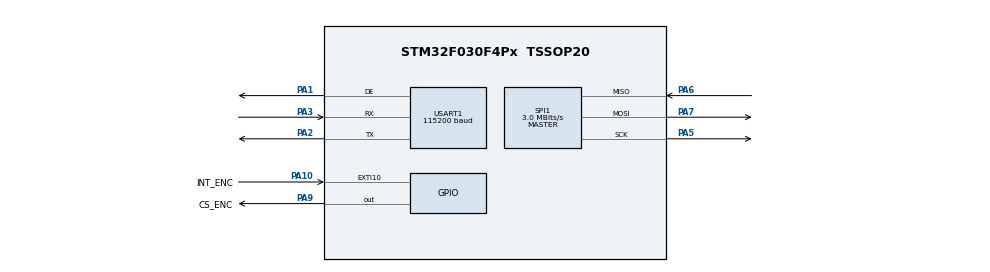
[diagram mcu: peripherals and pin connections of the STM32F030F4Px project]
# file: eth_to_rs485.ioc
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Mcu.Family=STM32F0
Mcu.Name=STM32F030F4Px
Mcu.Package=TSSOP20
PA1.Mode=Hardware Flow Control (RS485)
PA1.Signal=USART1_DE
PA10.GPIO_Label=INT_ENC
PA10.Signal=GPXTI10
PA2.Mode=Asynchronous
PA2.Signal=USART1_TX
PA3.Mode=Asynchronous
PA3.Signal=USART1_RX
PA5.Mode=Full_Duplex_Master
PA5.Signal=SPI1_SCK
PA6.Mode=Full_Duplex_Master
PA6.Signal=SPI1_MISO
PA7.Mode=Full_Duplex_Master
PA7.Signal=SPI1_MOSI
PA9.GPIO_Label=CS_ENC
PA9.Signal=GPIO_Output
ProjectManager.HeapSize=0x200
ProjectManager.StackSize=0x400
ProjectManager.TargetToolchain=SW4STM32
RCC.AHBFreq_Value=48000000
RCC.APB1Freq_Value=48000000
RCC.APB1TimFreq_Value=48000000
RCC.HCLKFreq_Value=48000000
RCC.PLLMUL=RCC_PLL_MUL12
RCC.SYSCLKFreq_VALUE=48000000
RCC.SYSCLKSource=RCC_SYSCLKSOURCE_PLLCLK
SPI1.BaudRatePrescaler=SPI_BAUDRATEPRESCALER_16
SPI1.CalculateBaudRate=3.0 MBits/s
SPI1.Direction=SPI_DIRECTION_2LINES
SPI1.Mode=SPI_MODE_MASTER
SPI1.VirtualType=VM_MASTER
USART1.BaudRate=115200
USART1.VirtualMode-Asynchronous=VM_ASYNC
USART1.VirtualMode-Hardware\ Flow\ Control\ (RS485)=VM_ASYNC
board=eth_to_rs485

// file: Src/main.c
/**
  ******************************************************************************
  * @file           : main.c
  * @brief          : Main program body
  ******************************************************************************
  ** This notice applies to any and all portions of this file
  * that are not between comment pairs USER CODE BEGIN and
  * USER CODE END. Other portions of this file, whether
  * inserted by the user or by software development tools
  * are owned by their respective copyright owners.
  *
  * COPYRIGHT(c) 2018 STMicroelectronics
  *
  * Redistribution and use in source and binary forms, with or without modification,
  * are permitted provided that the following conditions are met:
  *   1. Redistributions of source code must retain the above copyright notice,
  *      this list of conditions and the following disclaimer.
  *   2. Redistributions in binary form must reproduce the above copyright notice,
  *      this list of conditions and the following disclaimer in the documentation
  *      and/or other materials provided with the distribution.
  *   3. Neither the name of STMicroelectronics nor the names of its contributors
  *      may be used to endorse or promote products derived from this software
  *      without specific prior written permission.
  *
  * THIS SOFTWARE IS PROVIDED BY THE COPYRIGHT HOLDERS AND CONTRIBUTORS "AS IS"
  * AND ANY EXPRESS OR IMPLIED WARRANTIES, INCLUDING, BUT NOT LIMITED TO, THE
  * IMPLIED WARRANTIES OF MERCHANTABILITY AND FITNESS FOR A PARTICULAR PURPOSE ARE
  * DISCLAIMED. IN NO EVENT SHALL THE COPYRIGHT HOLDER OR CONTRIBUTORS BE LIABLE
  * FOR ANY DIRECT, INDIRECT, INCIDENTAL, SPECIAL, EXEMPLARY, OR CONSEQUENTIAL
  * DAMAGES (INCLUDING, BUT NOT LIMITED TO, PROCUREMENT OF SUBSTITUTE GOODS OR
  * SERVICES; LOSS OF USE, DATA, OR PROFITS; OR BUSINESS INTERRUPTION) HOWEVER
  * CAUSED AND ON ANY THEORY OF LIABILITY, WHETHER IN CONTRACT, STRICT LIABILITY,
  * OR TORT (INCLUDING NEGLIGENCE OR OTHERWISE) ARISING IN ANY WAY OUT OF THE USE
  * OF THIS SOFTWARE, EVEN IF ADVISED OF THE POSSIBILITY OF SUCH DAMAGE.
  *
  ******************************************************************************
  */
#include "main.h"
#include "stm32f0xx_hal.h"

/* USER CODE BEGIN Includes */
#include <string.h>
#include <StackTsk.h>
#include <UDPtoRs485.h>
/* USER CODE END Includes */

SPI_HandleTypeDef hspi1;

UART_HandleTypeDef huart1;

/* USER CODE BEGIN PV */
/* Private variables ---------------------------------------------------------*/
// This is used by other stack elements.
// Main application must define this and initialize it with proper values.
APP_CONFIG AppConfig;
/* USER CODE END PV */

void SystemClock_Config(void);
static void MX_GPIO_Init(void);
static void MX_SPI1_Init(void);
static void MX_USART1_UART_Init(void);

/* USER CODE BEGIN PFP */
/* Private function prototypes -----------------------------------------------*/
static void InitAppConfig(void);
void PrintLog(BYTE *mas, WORD len);
/* USER CODE END PFP */

int main(void)
{

  /* MCU Configuration----------------------------------------------------------*/

  /* Reset of all peripherals, Initializes the Flash interface and the Systick. */
  HAL_Init();

  /* Configure the system clock */
  SystemClock_Config();

  /* Initialize all configured peripherals */
  MX_GPIO_Init();
  MX_SPI1_Init();
  MX_USART1_UART_Init();
  /* USER CODE BEGIN 2 */

  // Initialize Stack and application related NV variables into AppConfig.
  InitAppConfig();

  /* Initialize core stack layers (MAC, ARP, TCP, UDP) */
  StackInit();

  /* USER CODE END 2 */

  /* Infinite loop */
  while (1)
  {
  StackTask();

  UdpToRs485Task();
  }

}

void SystemClock_Config(void)
{

  RCC_ClkInitTypeDef RCC_ClkInitStruct;
  //RCC_PeriphCLKInitTypeDef PeriphClkInit;

    /**Initializes the CPU, AHB and APB busses clocks
    */

  if (HAL_RCC_OscConfig() != HAL_OK)
  {
    _Error_Handler(__FILE__, __LINE__);
  }

    /**Initializes the CPU, AHB and APB busses clocks
    */
  RCC_ClkInitStruct.ClockType = RCC_CLOCKTYPE_HCLK|RCC_CLOCKTYPE_SYSCLK
                              |RCC_CLOCKTYPE_PCLK1;
  RCC_ClkInitStruct.SYSCLKSource = RCC_SYSCLKSOURCE_PLLCLK;
  RCC_ClkInitStruct.AHBCLKDivider = RCC_SYSCLK_DIV1;
  RCC_ClkInitStruct.APB1CLKDivider = RCC_HCLK_DIV1;

  if (HAL_RCC_ClockConfig(&RCC_ClkInitStruct, FLASH_LATENCY_1) != HAL_OK)
  {
    _Error_Handler(__FILE__, __LINE__);
  }

  /* Configure the USART1 clock source */
  __HAL_RCC_USART1_CONFIG(RCC_USART1CLKSOURCE_PCLK1);

#if 0
  PeriphClkInit.PeriphClockSelection = RCC_PERIPHCLK_USART1;
  PeriphClkInit.Usart1ClockSelection = RCC_USART1CLKSOURCE_PCLK1;
  if (HAL_RCCEx_PeriphCLKConfig(&PeriphClkInit) != HAL_OK)
  {
    _Error_Handler(__FILE__, __LINE__);
  }
#endif
    /**Configure the Systick interrupt time
    */
  HAL_SYSTICK_Config(HAL_RCC_GetHCLKFreq()/1000);

    /**Configure the Systick
    */
  //HAL_SYSTICK_CLKSourceConfig(SYSTICK_CLKSOURCE_HCLK);
  SysTick->CTRL |= SYSTICK_CLKSOURCE_HCLK;

  /* SysTick_IRQn interrupt configuration */
  HAL_NVIC_SetPriority(SysTick_IRQn, 0, 0);
}

/* SPI1 init function */
static void MX_SPI1_Init(void)
{

  /* SPI1 parameter configuration*/
  hspi1.Instance = SPI1;
  hspi1.Init.Mode = SPI_MODE_MASTER;
  hspi1.Init.Direction = SPI_DIRECTION_2LINES;
  hspi1.Init.DataSize = SPI_DATASIZE_8BIT;
  hspi1.Init.CLKPolarity = SPI_POLARITY_LOW;
  hspi1.Init.CLKPhase = SPI_PHASE_1EDGE;
  hspi1.Init.NSS = SPI_NSS_SOFT;
  hspi1.Init.BaudRatePrescaler = SPI_BAUDRATEPRESCALER_8;
  hspi1.Init.FirstBit = SPI_FIRSTBIT_MSB;
  hspi1.Init.TIMode = SPI_TIMODE_DISABLE;
  hspi1.Init.CRCCalculation = SPI_CRCCALCULATION_DISABLE;
  hspi1.Init.CRCPolynomial = 7;
  hspi1.Init.CRCLength = SPI_CRC_LENGTH_DATASIZE;
  hspi1.Init.NSSPMode = SPI_NSS_PULSE_ENABLE;
  if (HAL_SPI_Init(&hspi1) != HAL_OK)
  {
    _Error_Handler(__FILE__, __LINE__);
  }

}

/* USART1 init function */
static void MX_USART1_UART_Init(void)
{

  huart1.Instance = USART1;
  huart1.Init.BaudRate = 115200;
  huart1.Init.WordLength = UART_WORDLENGTH_8B;
  huart1.Init.StopBits = UART_STOPBITS_1;
  huart1.Init.Parity = UART_PARITY_NONE;
  huart1.Init.Mode = UART_MODE_TX_RX;
  huart1.Init.HwFlowCtl = UART_HWCONTROL_NONE;
  huart1.Init.OverSampling = UART_OVERSAMPLING_16;
  huart1.Init.OneBitSampling = UART_ONE_BIT_SAMPLE_DISABLE;
  huart1.AdvancedInit.AdvFeatureInit = UART_ADVFEATURE_NO_INIT;
  if (HAL_RS485Ex_Init(&huart1, UART_DE_POLARITY_HIGH, 0, 0) != HAL_OK)
  {
    _Error_Handler(__FILE__, __LINE__);
  }

  HAL_Delay(200);

  const char *str = "Start USART\r\n";

  PrintLog((BYTE *)str, strlen(str));
  //HAL_UART_Transmit(&huart1, (uint8_t*)str, strlen(str), 150);

}

/** Configure pins as
        * Analog
        * Input
        * Output
        * EVENT_OUT
        * EXTI
*/
static void MX_GPIO_Init(void)
{

  GPIO_InitTypeDef GPIO_InitStruct;

  /* GPIO Ports Clock Enable */
  __HAL_RCC_GPIOA_CLK_ENABLE();

  /*Configure GPIO pin Output Level */
  HAL_GPIO_WritePin(CS_ENC_GPIO_Port, CS_ENC_Pin, GPIO_PIN_RESET);

  /*Configure GPIO pin : CS_ENC_Pin */
  GPIO_InitStruct.Pin = CS_ENC_Pin;
  GPIO_InitStruct.Mode = GPIO_MODE_OUTPUT_PP;
  GPIO_InitStruct.Pull = GPIO_NOPULL;
  GPIO_InitStruct.Speed = GPIO_SPEED_FREQ_LOW;
  HAL_GPIO_Init(CS_ENC_GPIO_Port, &GPIO_InitStruct);

  /*Configure GPIO pin : INT_ENC_Pin */
  GPIO_InitStruct.Pin = INT_ENC_Pin;
  GPIO_InitStruct.Mode = GPIO_MODE_IT_RISING;
  GPIO_InitStruct.Pull = GPIO_NOPULL;
  HAL_GPIO_Init(INT_ENC_GPIO_Port, &GPIO_InitStruct);

}

/* USER CODE BEGIN 4 */
static void InitAppConfig(void)
{
	//
	AppConfig.MyMACAddr.v[0] = MY_DEFAULT_MAC_BYTE1;
	AppConfig.MyMACAddr.v[1] = MY_DEFAULT_MAC_BYTE2;
	AppConfig.MyMACAddr.v[2] = MY_DEFAULT_MAC_BYTE3;
	AppConfig.MyMACAddr.v[3] = MY_DEFAULT_MAC_BYTE4;
	AppConfig.MyMACAddr.v[4] = MY_DEFAULT_MAC_BYTE5;
	AppConfig.MyMACAddr.v[5] = MY_DEFAULT_MAC_BYTE6;

	//AppConfig.MyIPAddr.Val = MY_DEFAULT_IP_ADDR_BYTE1 | MY_DEFAULT_IP_ADDR_BYTE2<<8ul | MY_DEFAULT_IP_ADDR_BYTE3<<16ul | MY_DEFAULT_IP_ADDR_BYTE4<<24ul;
	AppConfig.MyIPAddr.v[0] = MY_DEFAULT_IP_ADDR_BYTE1;
	AppConfig.MyIPAddr.v[1] = MY_DEFAULT_IP_ADDR_BYTE2;
	AppConfig.MyIPAddr.v[2] = MY_DEFAULT_IP_ADDR_BYTE3;
	AppConfig.MyIPAddr.v[3] = MY_DEFAULT_IP_ADDR_BYTE4;

	//AppConfig.MyMask.Val = MY_DEFAULT_MASK_BYTE1 | MY_DEFAULT_MASK_BYTE2<<8ul | MY_DEFAULT_MASK_BYTE3<<16ul | MY_DEFAULT_MASK_BYTE4<<24ul;
	AppConfig.MyMask.v[0]= MY_DEFAULT_MASK_BYTE1;
	AppConfig.MyMask.v[1]= MY_DEFAULT_MASK_BYTE2;
	AppConfig.MyMask.v[2]= MY_DEFAULT_MASK_BYTE3;
	AppConfig.MyMask.v[3]= MY_DEFAULT_MASK_BYTE4;

	AppConfig.MyGateway.Val = MY_DEFAULT_GATE_BYTE1 | MY_DEFAULT_GATE_BYTE2<<8ul | MY_DEFAULT_GATE_BYTE3<<16ul | MY_DEFAULT_GATE_BYTE4<<24ul;
}

void PrintLog(BYTE *mas, WORD len)
{
	HAL_UART_Transmit(&huart1, mas, len, 150);
}
/* USER CODE END 4 */

void _Error_Handler(char *file, int line)
{
  while(1)
  {
  }
}

/************************ (C) COPYRIGHT STMicroelectronics *****END OF FILE****/
